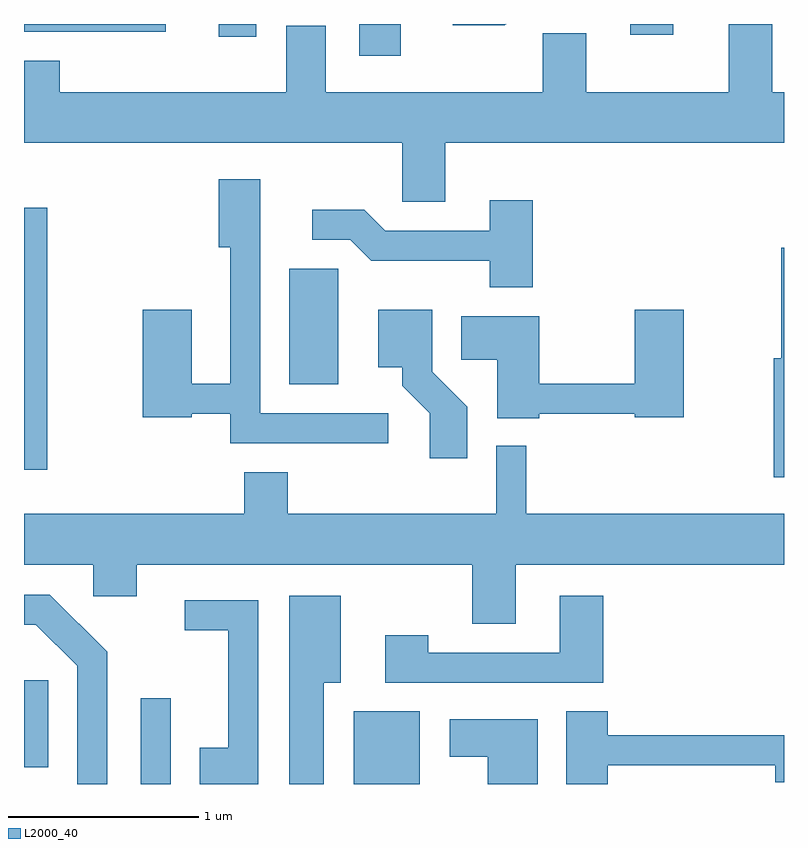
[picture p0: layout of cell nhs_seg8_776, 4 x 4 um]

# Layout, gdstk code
import gdstk
lib = gdstk.Library(unit=1e-6, precision=1e-09)
def R(c, l, rs):  # rectangles x0, y0, x1, y1
    for r in rs: c.add(gdstk.rectangle(r[:2], r[2:], *l))
def P(c, l, *ps):  # polygons
    for p in ps: c.add(gdstk.Polygon(p, *l))
L2000_40 = (2000, 40)

nhs_seg8_776 = lib.new_cell('nhs_seg8_776')
R(nhs_seg8_776, L2000_40, [(208.226,1866.342,208.384,1866.793), (209.346,1866.342,209.694,1866.724), (207.611,1866.431,207.739,1866.889), (207.611,1867.996,207.734,1869.374), (209.006,1868.446,209.264,1869.054), (209.376,1870.176,209.594,1870.342), (208.636,1870.276,208.834,1870.342), (210.801,1870.286,211.029,1870.342), (207.611,1870.301,208.358,1870.342)])
P(nhs_seg8_776, L2000_40, [(210.148,1870.342),(209.868,1870.342),(209.868,1870.336),(210.142,1870.336)],
  [(209.829,1869.716),(211.611,1869.716),(211.611,1869.984),(211.549,1869.984),(211.549,1870.342),(211.321,1870.342),(211.321,1869.984),(210.569,1869.984),(210.569,1870.294),(210.341,1870.294),(210.341,1869.984),(209.199,1869.984),(209.199,1870.334),(208.991,1870.334),(208.991,1869.984),(207.799,1869.984),(207.799,1870.149),(207.611,1870.149),(207.611,1869.716),(209.601,1869.716),(209.601,1869.406),(209.829,1869.406)],
  [(209.528,1868.294),(208.854,1868.294),(208.854,1869.524),(208.636,1869.524),(208.636,1869.166),(208.696,1869.166),(208.696,1868.449),(208.494,1868.449),(208.494,1868.839),(208.236,1868.839),(208.236,1868.271),(208.494,1868.271),(208.494,1868.291),(208.696,1868.291),(208.696,1868.136),(209.528,1868.136)],
  [(210.289,1869.414),(210.061,1869.414),(210.061,1869.254),(209.512,1869.254),(209.402,1869.364),(209.128,1869.364),(209.128,1869.206),(209.329,1869.206),(209.439,1869.096),(210.061,1869.096),(210.061,1868.956),(210.289,1868.956)],
  [(211.611,1869.164),(211.596,1869.164),(211.596,1868.584),(211.556,1868.584),(211.556,1867.956),(211.611,1867.956)],
  [(209.944,1868.327),(209.759,1868.512),(209.759,1868.839),(209.476,1868.839),(209.476,1868.536),(209.601,1868.536),(209.601,1868.439),(209.746,1868.294),(209.746,1868.056),(209.944,1868.056)],
  [(210.324,1868.291),(210.826,1868.291),(210.826,1868.271),(211.084,1868.271),(211.084,1868.839),(210.826,1868.839),(210.826,1868.449),(210.324,1868.449),(210.324,1868.804),(209.911,1868.804),(209.911,1868.576),(210.101,1868.576),(210.101,1868.266),(210.324,1868.266)],
  [(210.199,1867.496),(211.611,1867.496),(211.611,1867.764),(210.254,1867.764),(210.254,1868.123),(210.096,1868.123),(210.096,1867.764),(208.999,1867.764),(208.999,1867.984),(208.771,1867.984),(208.771,1867.764),(207.611,1867.764),(207.611,1867.496),(207.976,1867.496),(207.976,1867.331),(208.204,1867.331),(208.204,1867.496),(209.971,1867.496),(209.971,1867.186),(210.199,1867.186)],
  [(208.049,1867.037),(207.747,1867.339),(207.611,1867.339),(207.611,1867.181),(207.674,1867.181),(207.891,1866.964),(207.891,1866.342),(208.049,1866.342)],
  [(210.659,1867.334),(210.431,1867.334),(210.431,1867.034),(209.739,1867.034),(209.739,1867.124),(209.511,1867.124),(209.511,1866.876),(210.659,1866.876)],
  [(209.189,1866.876),(209.279,1866.876),(209.279,1867.334),(209.006,1867.334),(209.006,1866.342),(209.189,1866.342)],
  [(208.844,1867.309),(208.458,1867.309),(208.458,1867.151),(208.686,1867.151),(208.686,1866.534),(208.536,1866.534),(208.536,1866.342),(208.844,1866.342)],
  [(210.684,1866.441),(211.566,1866.441),(211.566,1866.351),(211.611,1866.351),(211.611,1866.599),(210.684,1866.599),(210.684,1866.724),(210.466,1866.724),(210.466,1866.342),(210.684,1866.342)],
  [(210.314,1866.684),(209.851,1866.684),(209.851,1866.486),(210.051,1866.486),(210.051,1866.342),(210.314,1866.342)])

lib.write_gds('nhs_seg8_776.gds')
